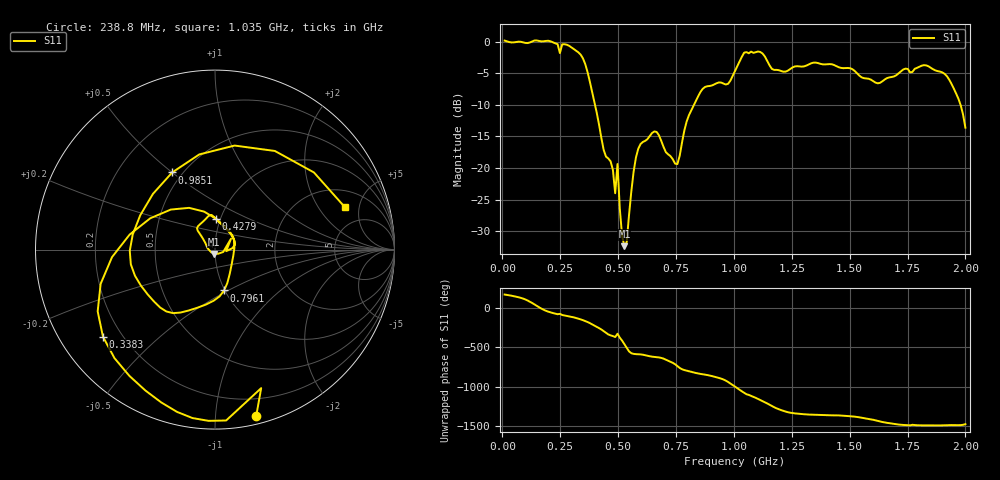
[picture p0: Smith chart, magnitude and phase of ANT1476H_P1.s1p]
!Created with skrf (http://scikit-rf.org).
# Hz S RI R 50.0
!freq ReS11 ImS11
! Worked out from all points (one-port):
!   201 points, 10 MHz to 2 GHz, reference 50 ohm
!   lowest |S11| = -32.4 dB at 527.4 MHz (marker M1), VSWR 1.05, Z = 49.6 - j2.36 ohm
!   |S11| at or under -10 dB: 400.6 MHz to 828 MHz (427.4 MHz wide, 69.6 % of centre); 1.979 GHz to end of sweep
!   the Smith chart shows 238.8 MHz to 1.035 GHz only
!   S11 on the Smith chart (normalised r, x): 238.8 MHz: 0.06, -1.27; 338.4 MHz: 0.13, -0.34; 427.9 MHz: 0.95, +0.34; 796 MHz: 0.99, -0.48; 985.1 MHz: 0.44, +0.50; 1.035 GHz: 3.20, +3.59
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1e7  -1.017 0.0861
7.965e7  -0.6822 0.7301
1.1945e8  0.1192 0.9802
1.692e8  1.003 -0.0869
1.9905e8  0.7304 -0.7076
2.3885e8  0.2292 -0.9293
2.5875e8  0.062 -0.9521
3.3835e8  -0.6241 -0.4854
3.881e8  -0.3606 0.1745
4.279e8  0.00456 0.1727
4.876e8  0.0626 -0.00853
4.9755e8  0.089 0.0605
5.075e8  0.0459 -0.0133
5.274e8  -0.0038 -0.0238
5.9705e8  -0.1002 0.1182
7.5625e8  0.1018 -0.0347
7.9605e8  0.0508 -0.2274
8.9555e8  -0.3396 -0.2895
9.851e8  -0.2386 0.4298
1.005e9  0.1093 0.5797
1.03485e9  0.7246 0.2353
1.07465e9  0.635 -0.5419
1.11445e9  -0.0433 -0.8284
1.1642e9  -0.5987 -0.1145
1.25375e9  -0.1136 0.616
1.5025e9  0.304 0.5365
1.75125e9  0.3585 -0.4922
2e9  0.1582 -0.1361
